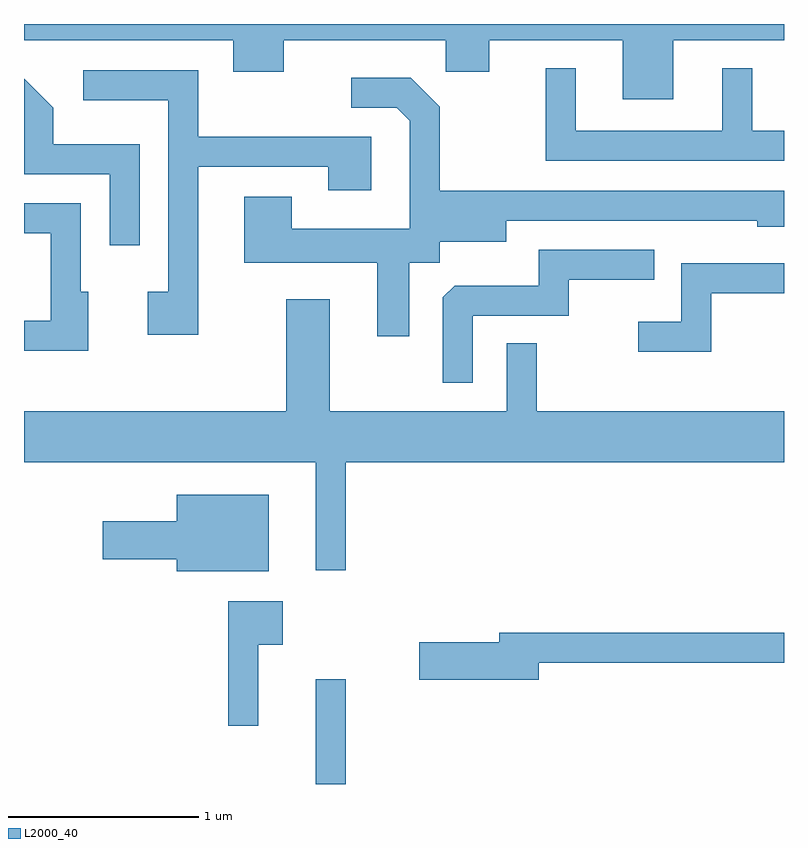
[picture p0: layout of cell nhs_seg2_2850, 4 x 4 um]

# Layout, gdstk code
import gdstk
lib = gdstk.Library(unit=1e-6, precision=1e-09)
def R(c, l, rs):  # rectangles x0, y0, x1, y1
    for r in rs: c.add(gdstk.rectangle(r[:2], r[2:], *l))
def P(c, l, *ps):  # polygons
    for p in ps: c.add(gdstk.Polygon(p, *l))
L2000_40 = (2000, 40)

nhs_seg2_2850 = lib.new_cell('nhs_seg2_2850')
R(nhs_seg2_2850, L2000_40, [(271.146,977.802,271.304,978.353)])
P(nhs_seg2_2850, L2000_40, [(273.029,981.716),(273.611,981.716),(273.611,981.802),(269.611,981.802),(269.611,981.716),(270.711,981.716),(270.711,981.551),(270.979,981.551),(270.979,981.716),(271.831,981.716),(271.831,981.551),(272.059,981.551),(272.059,981.716),(272.761,981.716),(272.761,981.406),(273.029,981.406)],
  [(273.611,981.239),(273.444,981.239),(273.444,981.568),(273.286,981.568),(273.286,981.239),(272.514,981.239),(272.514,981.568),(272.356,981.568),(272.356,981.081),(273.611,981.081)],
  [(270.529,981.051),(271.211,981.051),(271.211,980.926),(271.439,980.926),(271.439,981.209),(270.529,981.209),(270.529,981.559),(269.923,981.559),(269.923,981.401),(270.371,981.401),(270.371,980.394),(270.261,980.394),(270.261,980.166),(270.529,980.166)],
  [(271.639,980.546),(271.799,980.546),(271.799,980.656),(272.149,980.656),(272.149,980.766),(273.471,980.766),(273.471,980.736),(273.611,980.736),(273.611,980.924),(271.799,980.924),(271.799,981.367),(271.647,981.519),(271.333,981.519),(271.333,981.361),(271.574,981.361),(271.641,981.294),(271.641,980.724),(271.019,980.724),(271.019,980.894),(270.771,980.894),(270.771,980.546),(271.471,980.546),(271.471,980.158),(271.639,980.158)],
  [(270.219,981.169),(269.764,981.169),(269.764,981.362),(269.611,981.515),(269.611,981.011),(270.061,981.011),(270.061,980.638),(270.219,980.638)],
  [(269.949,980.394),(269.909,980.394),(269.909,980.859),(269.611,980.859),(269.611,980.701),(269.751,980.701),(269.751,980.239),(269.611,980.239),(269.611,980.081),(269.949,980.081)],
  [(271.974,980.266),(272.479,980.266),(272.479,980.456),(272.928,980.456),(272.928,980.614),(272.321,980.614),(272.321,980.424),(271.877,980.424),(271.816,980.364),(271.816,979.913),(271.974,979.913)],
  [(273.229,980.386),(273.611,980.386),(273.611,980.544),(273.071,980.544),(273.071,980.234),(272.843,980.234),(272.843,980.076),(273.229,980.076)],
  [(271.304,979.496),(273.611,979.496),(273.611,979.764),(272.309,979.764),(272.309,980.123),(272.151,980.123),(272.151,979.764),(271.219,979.764),(271.219,980.354),(270.991,980.354),(270.991,979.764),(269.611,979.764),(269.611,979.496),(271.146,979.496),(271.146,978.928),(271.304,978.928)],
  [(270.899,979.324),(270.416,979.324),(270.416,979.184),(270.026,979.184),(270.026,978.986),(270.416,978.986),(270.416,978.921),(270.899,978.921)],
  [(270.844,978.536),(270.974,978.536),(270.974,978.764),(270.686,978.764),(270.686,978.108),(270.844,978.108)],
  [(272.319,978.441),(273.611,978.441),(273.611,978.599),(272.111,978.599),(272.111,978.549),(271.691,978.549),(271.691,978.351),(272.319,978.351)])

lib.write_gds('nhs_seg2_2850.gds')
